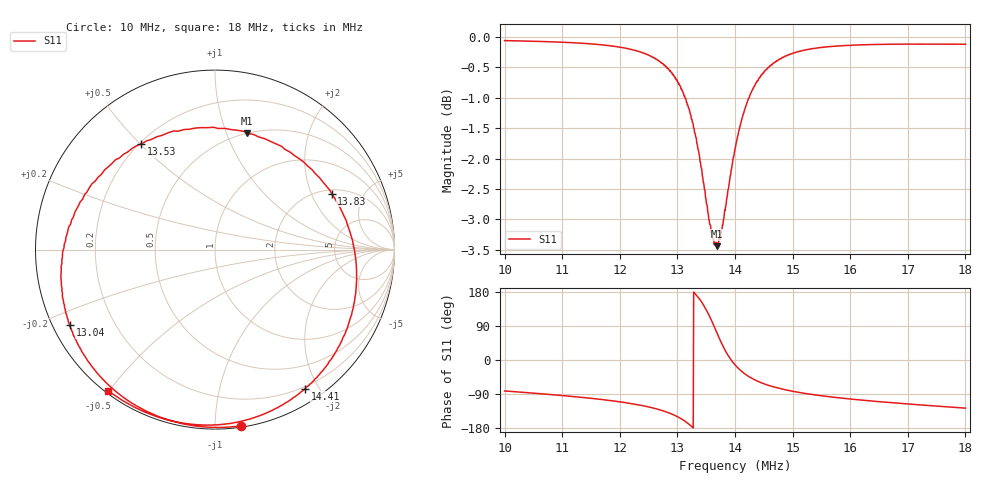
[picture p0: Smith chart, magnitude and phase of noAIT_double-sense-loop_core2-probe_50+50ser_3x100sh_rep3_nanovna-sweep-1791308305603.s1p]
! NanoVNA Web complex sweep
! Processing: unaveraged complex samples; linear segment spacing; no smoothing
# Hz S RI R 50
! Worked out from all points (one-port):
!   1010 points, 10 MHz to 18 MHz, reference 50 ohm
!   lowest |S11| = -3.4 dB at 13.68 MHz (marker M1), VSWR 5.12, Z = 25 + j59.4 ohm
!   |S11| at or under -10 dB: nowhere
!   S11 on the Smith chart (normalised r, x): 10 MHz: 0.01, -1.16; 13.04 MHz: 0.05, -0.24; 13.53 MHz: 0.21, +0.50; 13.83 MHz: 2.18, +2.83; 14.41 MHz: 0.17, -1.83; 18 MHz: 0.01, -0.50
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1e7  0.1434 -0.9823
1.100698e7  -0.0666 -0.9874
1.200604e7  -0.3432 -0.9183
1.233906e7  -0.4682 -0.8522
1.261657e7  -0.5932 -0.7543
1.282272e7  -0.6996 -0.6328
1.300509e7  -0.7932 -0.4609
1.303681e7  -0.8087 -0.4223
1.321124e7  -0.8578 -0.1407
1.333018e7  -0.8148 0.1266
1.343326e7  -0.6677 0.3812
1.35284e7  -0.4096 0.5888
1.36077e7  -0.107 0.6774
1.367906e7  0.1802 0.6486
1.375835e7  0.4722 0.5043
1.382971e7  0.6492 0.312
1.3909e7  0.7609 0.0682
1.400414e7  0.7876 -0.1896
1.409929e7  0.7484 -0.4004
1.418651e7  0.6871 -0.5438
1.428959e7  0.6028 -0.6715
1.440852e7  0.5037 -0.7741
1.465432e7  0.3214 -0.8944
1.50032e7  0.1241 -0.9615
1.544722e7  -0.0566 -0.9775
1.600225e7  -0.22 -0.9585
1.700131e7  -0.434 -0.8856
1.800036e7  -0.5936 -0.7873
